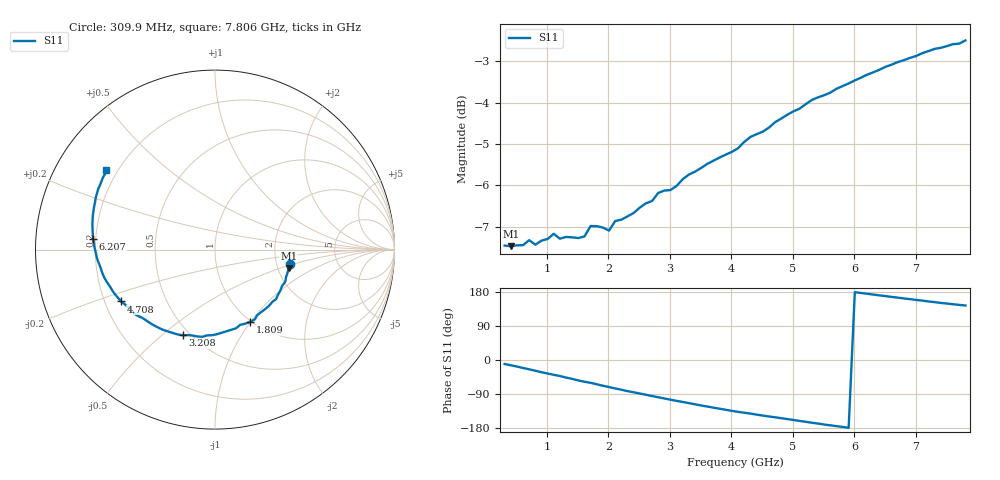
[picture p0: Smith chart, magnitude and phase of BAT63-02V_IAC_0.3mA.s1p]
! Infineon Technologies  Discrete & RF Semiconductors
! BAT63-02V
! IAC = 0.3 mA
! One-Port S-Parameters
# Hz  S  MA  R  50
!f  S11
!Hz  Mag  Ang
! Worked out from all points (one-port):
!   76 points, 309.9 MHz to 7.806 GHz, reference 50 ohm
!   lowest |S11| = -7.5 dB at 409.8 MHz (marker M1), VSWR 2.47, Z = 115 - j28.4 ohm
!   |S11| at or under -10 dB: nowhere
!   S11 on the Smith chart (normalised r, x): 309.9 MHz: 2.37, -0.45; 1.809 GHz: 0.99, -1.00; 3.208 GHz: 0.46, -0.59; 4.708 GHz: 0.27, -0.24; 6.207 GHz: 0.19, +0.04; 7.806 GHz: 0.16, +0.32
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3.0985e8  0.424 -10.5
4.098e8  0.4233 -13.9
7.0965e8  0.4304 -24.5
8.096e8  0.425 -28.4
1.10945e9  0.4381 -39.1
1.30935e9  0.4343 -46.3
1.6092e9  0.4349 -57.4
1.70915e9  0.4476 -60.2
1.8091e9  0.4475 -64.1
2.009e9  0.442 -71.4
2.10895e9  0.4539 -75.0
2.2089e9  0.4556 -78.4
2.50875e9  0.4711 -88.5
2.8086e9  0.4908 -98.2
3.0085e9  0.4948 -104.7
3.2084e9  0.51 -110.7
3.6082e9  0.5322 -122.8
4.10795e9  0.5559 -136.9
4.30785e9  0.5735 -141.4
4.70765e9  0.5974 -151.1
5.0075e9  0.6158 -158.2
5.4073e9  0.6404 -167.8
6.007e9  0.6713 179.0
6.2069e9  0.6821 174.8
6.50675e9  0.6972 168.5
6.90655e9  0.7147 160.5
7.4063e9  0.735 150.5
7.8061e9  0.7502 143.8
